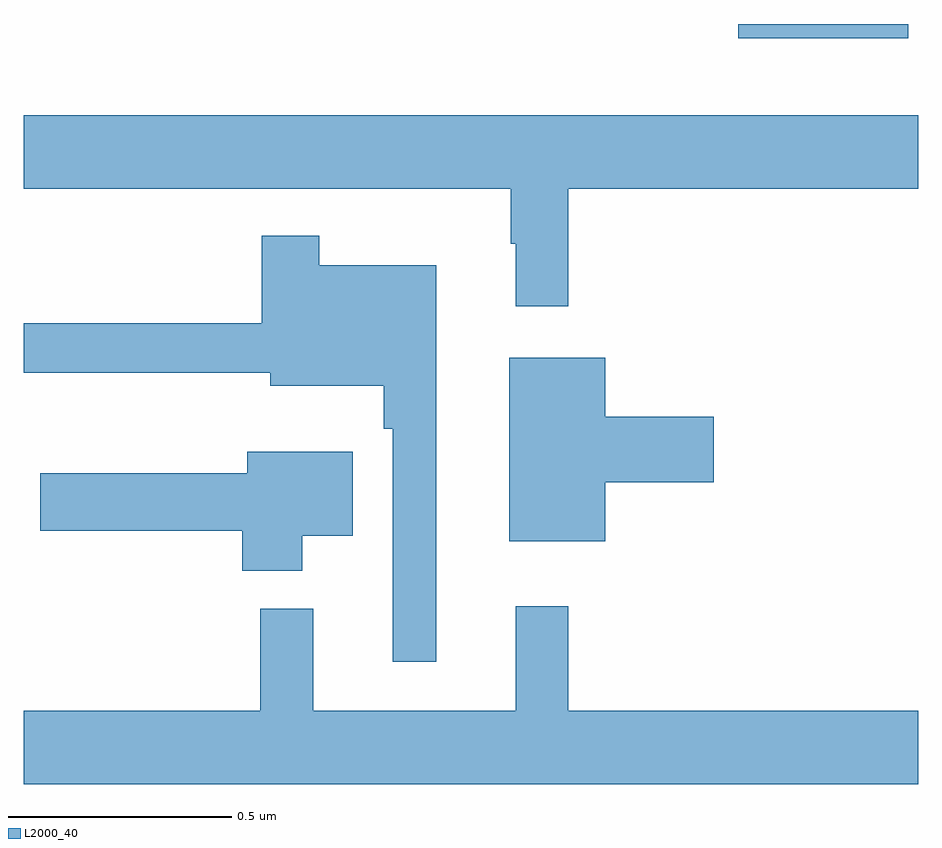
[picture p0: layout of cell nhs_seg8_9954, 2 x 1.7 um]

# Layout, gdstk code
import gdstk
lib = gdstk.Library(unit=1e-6, precision=1e-09)
def R(c, l, rs):  # rectangles x0, y0, x1, y1
    for r in rs: c.add(gdstk.rectangle(r[:2], r[2:], *l))
def P(c, l, *ps):  # polygons
    for p in ps: c.add(gdstk.Polygon(p, *l))
L2000_40 = (2000, 40)

nhs_seg8_9954 = lib.new_cell('nhs_seg8_9954')
R(nhs_seg8_9954, L2000_40, [(244.598,1084.868,244.978,1084.9)])
P(nhs_seg8_9954, L2000_40, [(244.217,1084.532),(245,1084.532),(245,1084.696),(243,1084.696),(243,1084.532),(244.089,1084.532),(244.089,1084.409),(244.1,1084.409),(244.1,1084.269),(244.217,1084.269)],
  [(243.922,1084.36),(243.661,1084.36),(243.661,1084.426),(243.532,1084.426),(243.532,1084.231),(243,1084.231),(243,1084.12),(243.551,1084.12),(243.551,1084.091),(243.805,1084.091),(243.805,1083.995),(243.825,1083.995),(243.825,1083.474),(243.922,1083.474)],
  [(244.3,1083.875),(244.543,1083.875),(244.543,1084.022),(244.3,1084.022),(244.3,1084.153),(244.085,1084.153),(244.085,1083.743),(244.3,1083.743)],
  [(243.622,1083.755),(243.736,1083.755),(243.736,1083.943),(243.5,1083.943),(243.5,1083.895),(243.036,1083.895),(243.036,1083.766),(243.488,1083.766),(243.488,1083.677),(243.622,1083.677)],
  [(245,1083.364),(244.217,1083.364),(244.217,1083.598),(244.1,1083.598),(244.1,1083.364),(243.647,1083.364),(243.647,1083.592),(243.529,1083.592),(243.529,1083.364),(243,1083.364),(243,1083.2),(245,1083.2)])

lib.write_gds('nhs_seg8_9954.gds')
